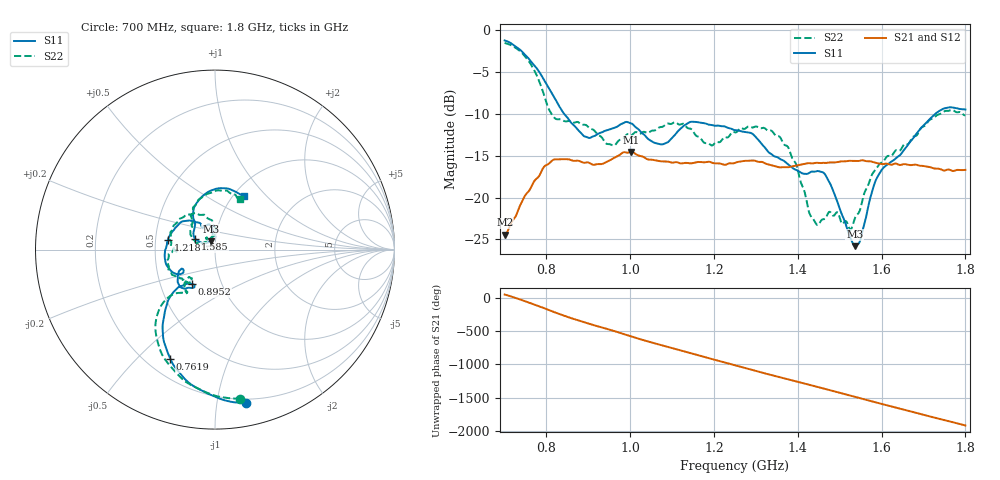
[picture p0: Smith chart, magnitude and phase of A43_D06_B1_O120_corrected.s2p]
! Created with skrf 1.9.0 (http://scikit-rf.org).
# Hz S RI R 50.0
!freq ReS11 ImS11 ReS21 ImS21 ReS12 ImS12 ReS22 ImS22
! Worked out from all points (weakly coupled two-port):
!   1601 points, 700 MHz to 1.8 GHz, reference 50 ohm
!   highest |S21| = -14.53 dB at 1.002 GHz (marker M1); lowest = -24.4 dB at 700.7 MHz (marker M2)
!   lowest |S11| = -25.8 dB at 1.536 GHz (marker M3), VSWR 1.11, Z = 47.5 + j4.35 ohm
!   |S11| at or under -10 dB: 842.5 MHz to 1.728 GHz (885.1 MHz wide, 68.9 % of centre)
!   |S22| runs from -23.8 to -1.5 dB; largest |S21 - S12| = 0.0035
!   S11 on the Smith chart (normalised r, x): 700 MHz: 0.17, -1.21; 761.9 MHz: 0.29, -0.63; 895.2 MHz: 0.72, -0.29; 1.218 GHz: 0.58, +0.07; 1.585 GHz: 0.80, +0.10; 1.8 GHz: 1.12, +0.75
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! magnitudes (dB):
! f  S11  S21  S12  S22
! 700 MHz  -1.2  -24.4  -24.2  -1.5
! 700.7 MHz  -1.2  -24.4  -24.1  -1.5
! 761.9 MHz  -3.6  -18.9  -18.8  -4.0
! 816.9 MHz  -7.8  -15.5  -15.6  -10.3
! 883.6 MHz  -12.3  -15.7  -15.6  -11.2
! 895.2 MHz  -12.7  -15.8  -15.9  -11.3
! 957.1 MHz  -11.7  -15.4  -15.4  -13.7
! 1.002 GHz  -11.1  -14.5  -14.6  -12.5
! 1.067 GHz  -13.6  -15.6  -15.6  -11.7
! 1.143 GHz  -10.9  -15.9  -15.9  -11.7
! 1.218 GHz  -11.5  -16.0  -16.0  -13.1
! 1.25 GHz  -11.9  -15.8  -15.8  -12.2
! 1.357 GHz  -15.4  -16.4  -16.3  -12.7
! 1.396 GHz  -16.7  -16.2  -16.2  -16.0
! 1.434 GHz  -16.9  -15.9  -15.9  -22.4
! 1.469 GHz  -17.6  -15.8  -15.8  -22.2
! 1.536 GHz  -25.8  -15.6  -15.6  -22.5
! 1.55 GHz  -25.0  -15.6  -15.6  -21.2
! 1.585 GHz  -18.0  -15.8  -15.8  -16.7
! 1.617 GHz  -15.9  -16.0  -15.9  -15.0
! 1.735 GHz  -9.7  -16.5  -16.6  -10.1
! 1.8 GHz  -9.5  -16.7  -16.7  -10.1
